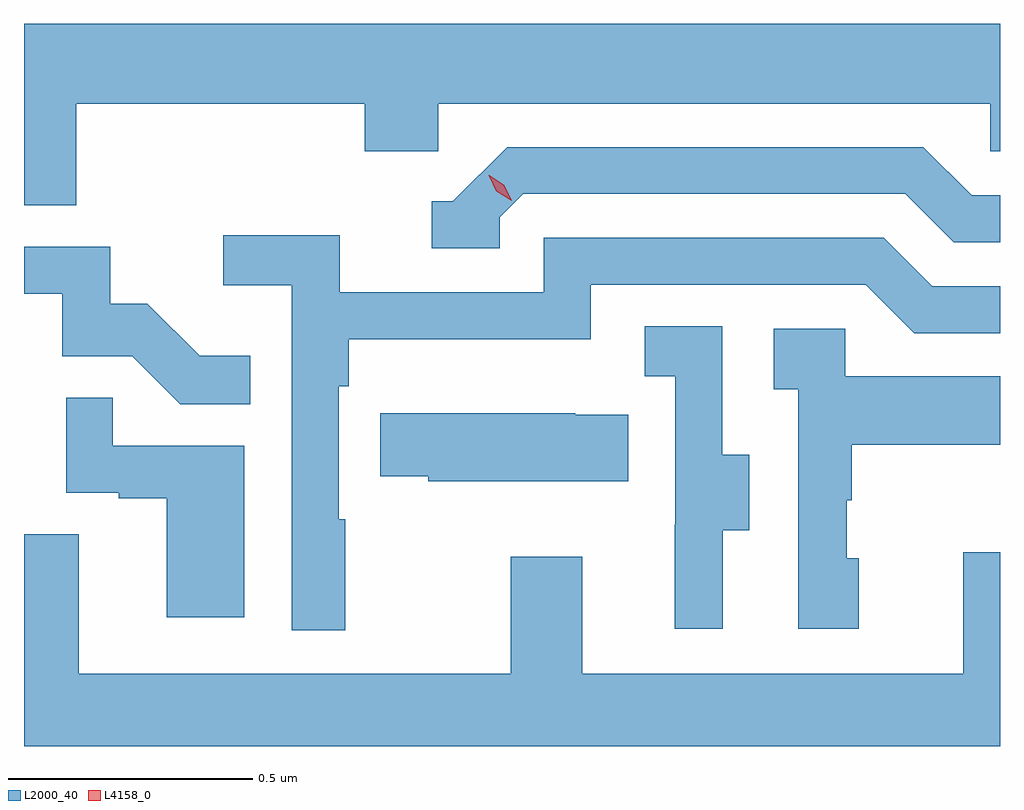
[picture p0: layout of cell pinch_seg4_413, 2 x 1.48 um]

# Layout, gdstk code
import gdstk
lib = gdstk.Library(unit=1e-6, precision=1e-09)
def P(c, l, *ps):  # polygons
    for p in ps: c.add(gdstk.Polygon(p, *l))
L2000_40 = (2000, 40)
L4158_0 = (4158, 0)

pinch_seg4_413 = lib.new_cell('pinch_seg4_413')
P(pinch_seg4_413, L2000_40, [(974.348,775.508),(974.939,775.508),(974.939,775.41),(975.09,775.41),(975.09,775.508),(976.221,775.508),(976.221,775.41),(976.241,775.41),(976.241,775.672),(974.241,775.672),(974.241,775.3),(974.348,775.3)],
  [(975.216,775.275),(975.264,775.323),(976.047,775.323),(976.146,775.224),(976.241,775.224),(976.241,775.32),(976.183,775.32),(976.084,775.419),(975.231,775.419),(975.12,775.308),(975.077,775.308),(975.077,775.212),(975.216,775.212)],
  [(974.899,774.656),(974.886,774.656),(974.886,774.929),(974.906,774.929),(974.906,775.025),(975.402,775.025),(975.402,775.137),(975.966,775.137),(976.065,775.038),(976.241,775.038),(976.241,775.134),(976.102,775.134),(976.003,775.233),(975.306,775.233),(975.306,775.122),(974.888,775.122),(974.888,775.238),(974.649,775.238),(974.649,775.136),(974.79,775.136),(974.79,774.429),(974.899,774.429)],
  [(974.705,774.991),(974.601,774.991),(974.494,775.098),(974.418,775.098),(974.418,775.215),(974.241,775.215),(974.241,775.119),(974.319,775.119),(974.319,774.99),(974.463,774.99),(974.561,774.892),(974.705,774.892)],
  [(975.673,774.634),(975.727,774.634),(975.727,774.789),(975.672,774.789),(975.672,775.052),(975.513,775.052),(975.513,774.949),(975.576,774.949),(975.576,774.645),(975.575,774.645),(975.575,774.432),(975.673,774.432)],
  [(975.952,774.576),(975.927,774.576),(975.927,774.695),(975.937,774.695),(975.937,774.809),(976.241,774.809),(976.241,774.949),(975.924,774.949),(975.924,775.047),(975.777,775.047),(975.777,774.923),(975.828,774.923),(975.828,774.432),(975.952,774.432)],
  [(974.692,774.807),(974.423,774.807),(974.423,774.905),(974.328,774.905),(974.328,774.711),(974.435,774.711),(974.435,774.699),(974.534,774.699),(974.534,774.456),(974.692,774.456)],
  [(975.479,774.871),(975.371,774.871),(975.371,774.874),(974.971,774.874),(974.971,774.745),(975.069,774.745),(975.069,774.734),(975.479,774.734)],
  [(976.241,774.589),(976.166,774.589),(976.166,774.34),(975.385,774.34),(975.385,774.58),(975.238,774.58),(975.238,774.34),(974.353,774.34),(974.353,774.626),(974.241,774.626),(974.241,774.191),(976.241,774.191)])
P(pinch_seg4_413, L4158_0, [(975.24,775.309),(975.209,775.329),(975.193,775.361),(975.193,775.361),(975.194,775.361),(975.224,775.342),(975.24,775.31),(975.24,775.309)])

lib.write_gds('pinch_seg4_413.gds')
